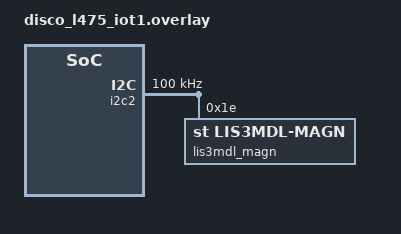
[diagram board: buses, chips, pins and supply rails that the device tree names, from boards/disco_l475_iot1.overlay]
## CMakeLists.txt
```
# SPDX-License-Identifier: Apache-2.0

cmake_minimum_required(VERSION 3.20.0)

find_package(Zephyr REQUIRED HINTS $ENV{ZEPHYR_BASE})
project(sense_tamper)

FILE(GLOB sources src/*.c)
target_sources(app PRIVATE ${sources})

target_include_directories(app PRIVATE include)
```

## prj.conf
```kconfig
# Allows memory allocation (malloc).
CONFIG_HEAP_MEM_POOL_SIZE=1024

# Allows logging.
CONFIG_LOG=y


CONFIG_PRINTK=y
CONFIG_GPIO=y

CONFIG_TICKLESS_KERNEL=y
CONFIG_LOG_CMDS=y
CONFIG_LOG_RUNTIME_FILTERING=y

CONFIG_STDOUT_CONSOLE=y
CONFIG_I2C=y
CONFIG_SENSOR=y

CONFIG_CBPRINTF_FP_SUPPORT=y

CONFIG_BT=y
CONFIG_BT_BROADCASTER=y
CONFIG_BT_OBSERVER=y
CONFIG_BT_PERIPHERAL=y

# Sensor Configs
CONFIG_I2C=y
CONFIG_I2C_STM32=y
CONFIG_SENSOR=y
CONFIG_HTS221=y
CONFIG_LPS22HB=y
CONFIG_LIS3MDL=y
```

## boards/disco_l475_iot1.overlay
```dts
/* SENSORS  - Working?*/
&i2c2 {
    status = "okay";
    clock-frequency = <I2C_BITRATE_STANDARD>; 

    /* Magno */
    lis3mdl_magn: lis3mdl-magn@1e {
        compatible = "st,lis3mdl-magn";
        reg = <0x1e>;
        status = "okay";
    };
};

/ {
    chosen {
        zephyr,console = &usart1;
        zephyr,shell-uart = &usart1;
    };
};
```

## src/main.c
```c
#include "new_sensor_lib.h"
#include "bluetooth_disco.h"

#define MY_STACK_SIZE 1024
#define COMMON_PRIORITY 4

K_THREAD_DEFINE(sensor_tid, MY_STACK_SIZE * 4,  sender_thread_disco, NULL, NULL, NULL, COMMON_PRIORITY, 0, 0);

int main(void) {
    bluetooth_init_disco();
    printf("done!\n");
    return 0;
}
```

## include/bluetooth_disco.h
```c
#ifndef BLUETOOTH_VOC
#define BLUETOOTH_VOC

extern void sender_thread_disco(void);
extern void bluetooth_init_disco(void);
#endif
```

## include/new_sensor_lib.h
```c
#ifndef SENSORS_NEW
#define SENSORS_NEW

#include <zephyr/kernel.h>
#include <zephyr/device.h>
#include <zephyr/drivers/gpio.h>
#include <zephyr/sys/printk.h>
#include <string.h>
#include <stdlib.h>
#include <stdio.h>
#include <zephyr/drivers/sensor.h>
#include <zephyr/sys/util.h>
#include <zephyr/sys/spsc_pbuf.h>
#include <zephyr/shell/shell.h>
#include <zephyr/drivers/sensor/ccs811.h>
#include <zephyr/data/json.h>

extern const struct device *const magneto;
extern const struct device *const accel;
extern struct sensor_data convert_and_collect(const struct device * dev, enum sensor_channel chan);
#endif
```

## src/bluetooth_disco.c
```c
#include <zephyr/kernel.h>
#include <zephyr/bluetooth/bluetooth.h>
#include <zephyr/logging/log.h>
#include <string.h>
#include <zephyr/device.h>
#include <zephyr/drivers/gpio.h>
#include <zephyr/sys/printk.h>
#include <zephyr/sys/util.h>
#include <zephyr/bluetooth/hci.h>
#include "new_sensor_lib.h"

#define IBEACON_RSSI 0xFF
#define NAME_LEN 30
  
static struct bt_data default_ad[] = {
    BT_DATA_BYTES(BT_DATA_FLAGS, BT_LE_AD_NO_BREDR),
    BT_DATA_BYTES(BT_DATA_MANUFACTURER_DATA,
              0x4c, 0x00, /* Apple */
              0x02, 0x15, /* iBeacon */
              0x00, 0x00, 0x00, 0x00, /* UUID[15..12] */
              0x00, 0x00, /* UUID  [11..10] */
              0x00, 0x00, /* UUID[9..8] */
              0x00, 0x00, /* UUID[7..6] */
              0x00, 0x00, 0x00, 0x00, 0x00, 0x00, /* UUID[5..0] */
              0x00, 0x00, /* Major - will be updated */
              0x00, 0x00, /* Minor - will be updated with distance */
              IBEACON_RSSI) /* Calibrated RSSI @ 1m */
};

struct sensor_data {
    int x;
    int y;
    int z;
	int xf;
    int yf;
    int zf;
};

static void start_advertising_disco(void) { 
    printk("shall we start?\n");   
    struct bt_le_adv_param param = {
        .options = BT_LE_ADV_OPT_USE_IDENTITY | BT_LE_ADV_OPT_CONNECTABLE,
        .interval_min = BT_GAP_ADV_FAST_INT_MIN_2,
        .interval_max = BT_GAP_ADV_FAST_INT_MAX_2,
        .id = 0, 
    };
    
    bt_le_adv_start(&param, default_ad, ARRAY_SIZE(default_ad), NULL, 0);
    printk("yes we shall!\n");

    while (1) {
        struct sensor_data a = convert_and_collect(accel, SENSOR_CHAN_ACCEL_XYZ);
        struct sensor_data m = convert_and_collect(magneto, SENSOR_CHAN_MAGN_XYZ);

        a.z -= 10;

        struct bt_data dynamic_ad[] = {
            BT_DATA_BYTES(BT_DATA_FLAGS, BT_LE_AD_NO_BREDR),
            BT_DATA_BYTES(BT_DATA_MANUFACTURER_DATA,
            0x4c, 0x00, /* Apple */
            0x02, 0x15, /* iBeacon */
            0x00, 0x00, 0x00, 0x00, /* UUID[15..12] */
            0x00, 0x00, /* UUID  [11..10] */
            0x00, 0x00, /* UUID[9..8] */
            0x00, m.x, /* UUID[7..6] */
            m.xf, m.y, m.yf, m.z, m.zf, a.x, /* UUID[5..0] */
            a.xf, a.y, /* Major - will be updated */
            a.yf, a.z, /* Minor - will be updated with distance */
            a.zf) /* Calibrated RSSI @ 1m */
        };

        printk("Magnetometer: X: %d.%02dµT Y: %d.%02dµT Z: %d.%02dµT\n", 
        m.x, m.xf,
        m.y, m.yf,
        m.z, m.zf);

        printk("Accelerometer: X: %d.%02d ms/2 Y: %d.%02dms/2 Z: %d.%02dms/2\n", 
                a.x, a.xf,
                a.y, a.yf,
                a.z, a.zf);

        // bt_le_adv_update_data(dynamic_ad, ARRAY_SIZE(dynamic_ad), NULL, 0);
            // k_sleep(K_MSEC(2000));
        printk("Advertising update result: %d\n", bt_le_adv_update_data(dynamic_ad, ARRAY_SIZE(dynamic_ad), NULL, 0));
        k_msleep(1000);
    }
}

void sender_thread_disco(void) {
    printf("gonna try :)\n");
    k_sleep(K_MSEC(3000));
    start_advertising_disco();
    printf("adv started!!!!!\n");
}

void bluetooth_init_disco(void) {
  bt_addr_le_t mobile_addr;
  printf("1: %d\n", bt_addr_le_from_str("DA:BB:CC:BB:CC:FF", "random", &mobile_addr));
  printf("2: %d\n", bt_id_create(&mobile_addr, NULL));
  printf("3: %d\n", bt_enable(NULL));
  printf("hiya\n");
}
```

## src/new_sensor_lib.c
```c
#include "new_sensor_lib.h"

const struct device *const magneto = DEVICE_DT_GET_ONE(st_lis3mdl_magn);
const struct device *const accel = DEVICE_DT_GET_ONE(st_lsm6dsl);

struct sensor_data {
    int x;
    int y;
    int z;
	int xf;
    int yf;
    int zf;
};

// struct sensor_data convert_and_collect(const struct device * dev, enum sensor_channel channel);

struct sensor_data convert_and_collect(const struct device *sensor,
			   enum sensor_channel channel)
{
	struct sensor_value val[3];
	static struct sensor_value accel_x, accel_y, accel_z;
	int32_t ret = 0;

    struct sensor_data sd = {0};

	double xd;
	double yd;
	double zd;



	if (channel == SENSOR_CHAN_ACCEL_XYZ) {
		struct sensor_value odr_attr;
		odr_attr.val1 = 104;
		odr_attr.val2 = 0;
		if (sensor_attr_set(sensor, SENSOR_CHAN_ACCEL_XYZ,
					SENSOR_ATTR_SAMPLING_FREQUENCY, &odr_attr) < 0) {
			printk("Cannot set sampling frequency for accelerometer.\n");
		}


		sensor_sample_fetch_chan(sensor, SENSOR_CHAN_ACCEL_XYZ);
		sensor_channel_get(sensor, SENSOR_CHAN_ACCEL_X, &accel_x);
		sensor_channel_get(sensor, SENSOR_CHAN_ACCEL_Y, &accel_y);
		sensor_channel_get(sensor, SENSOR_CHAN_ACCEL_Z, &accel_z);

		xd = sensor_value_to_double(&accel_x);
		yd = sensor_value_to_double(&accel_y);
		zd = sensor_value_to_double(&accel_z);
	}
	
	else {
		ret = sensor_sample_fetch(sensor);
		if (ret < 0 && ret != -EBADMSG) {
			printf("Sensor sample update error\n");
			return sd;
		}

		ret = sensor_channel_get(sensor, channel, val);
		if (ret < 0) {
			printf("Cannot read sensor channels\n");
			return sd;
		}
		
		xd = sensor_value_to_double(&val[0]);
		yd = sensor_value_to_double(&val[1]);
		zd = sensor_value_to_double(&val[2]);
	}


	int x = (int) xd;
	int xf = (int)((xd - x) * 100);
	if (xf < 0) xf = -xf;


	int y = (int) yd;
	int yf = (int)((yd - y) * 100);
	if (yf < 0) yf = -yf;

	int z = (int) zd;
	int zf = (int)((zd - z) * 100);
	if (zf < 0) zf = -zf;

    struct sensor_data s = {
		.x = x,
		.y = y,
		.z = z,
		.xf = xf,
		.yf = yf,
		.zf = zf
    };

	// printf("( x y z ) = ( %f  %f  %f )\n", xd,
	// 					yd,
	// 					zd);

	return s;
}
```
